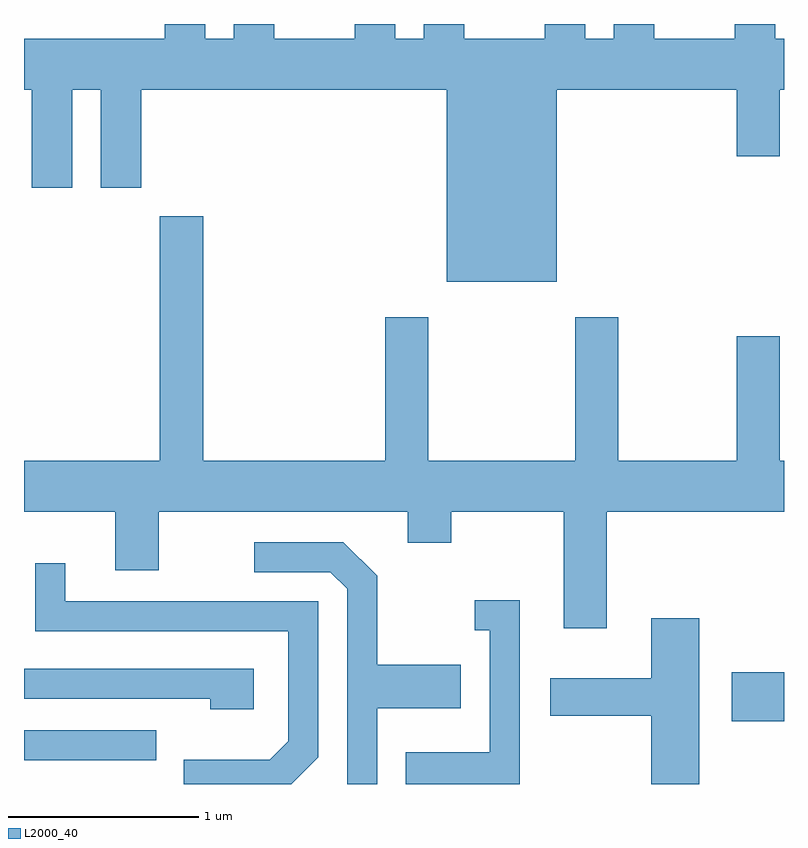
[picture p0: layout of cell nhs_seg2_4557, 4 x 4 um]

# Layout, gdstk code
import gdstk
lib = gdstk.Library(unit=1e-6, precision=1e-09)
def R(c, l, rs):  # rectangles x0, y0, x1, y1
    for r in rs: c.add(gdstk.rectangle(r[:2], r[2:], *l))
def P(c, l, *ps):  # polygons
    for p in ps: c.add(gdstk.Polygon(p, *l))
L2000_40 = (2000, 40)

nhs_seg2_4557 = lib.new_cell('nhs_seg2_4557')
R(nhs_seg2_4557, L2000_40, [(319.611,1015.926,320.308,1016.084), (323.336,1016.131,323.611,1016.389)])
P(nhs_seg2_4557, L2000_40, [(322.414,1019.456),(323.361,1019.456),(323.361,1019.106),(323.589,1019.106),(323.589,1019.456),(323.611,1019.456),(323.611,1019.724),(323.564,1019.724),(323.564,1019.802),(323.351,1019.802),(323.351,1019.724),(322.929,1019.724),(322.929,1019.802),(322.716,1019.802),(322.716,1019.724),(322.564,1019.724),(322.564,1019.802),(322.351,1019.802),(322.351,1019.724),(321.929,1019.724),(321.929,1019.802),(321.716,1019.802),(321.716,1019.724),(321.564,1019.724),(321.564,1019.802),(321.351,1019.802),(321.351,1019.724),(320.929,1019.724),(320.929,1019.802),(320.716,1019.802),(320.716,1019.724),(320.564,1019.724),(320.564,1019.802),(320.351,1019.802),(320.351,1019.724),(319.611,1019.724),(319.611,1019.456),(319.651,1019.456),(319.651,1018.941),(319.864,1018.941),(319.864,1019.456),(320.016,1019.456),(320.016,1018.941),(320.229,1018.941),(320.229,1019.456),(321.836,1019.456),(321.836,1018.446),(322.414,1018.446)],
  [(322.679,1017.236),(323.611,1017.236),(323.611,1017.504),(323.589,1017.504),(323.589,1018.159),(323.361,1018.159),(323.361,1017.504),(322.739,1017.504),(322.739,1018.259),(322.511,1018.259),(322.511,1017.504),(321.739,1017.504),(321.739,1018.259),(321.511,1018.259),(321.511,1017.504),(320.554,1017.504),(320.554,1018.789),(320.326,1018.789),(320.326,1017.504),(319.611,1017.504),(319.611,1017.236),(320.091,1017.236),(320.091,1016.926),(320.319,1016.926),(320.319,1017.236),(321.631,1017.236),(321.631,1017.071),(321.859,1017.071),(321.859,1017.236),(322.451,1017.236),(322.451,1016.621),(322.679,1016.621)],
  [(321.469,1016.201),(321.909,1016.201),(321.909,1016.429),(321.469,1016.429),(321.469,1016.897),(321.292,1017.074),(320.823,1017.074),(320.823,1016.916),(321.224,1016.916),(321.311,1016.829),(321.311,1015.802),(321.469,1015.802)],
  [(321.159,1015.944),(321.159,1016.764),(319.829,1016.764),(319.829,1016.963),(319.671,1016.963),(319.671,1016.606),(321.001,1016.606),(321.001,1016.027),(320.904,1015.929),(320.451,1015.929),(320.451,1015.802),(321.018,1015.802)],
  [(322.219,1016.769),(321.983,1016.769),(321.983,1016.611),(322.061,1016.611),(322.061,1015.969),(321.621,1015.969),(321.621,1015.802),(322.219,1015.802)],
  [(323.164,1016.674),(322.911,1016.674),(322.911,1016.359),(322.381,1016.359),(322.381,1016.161),(322.911,1016.161),(322.911,1015.802),(323.164,1015.802)],
  [(320.819,1016.409),(319.611,1016.409),(319.611,1016.251),(320.591,1016.251),(320.591,1016.196),(320.819,1016.196)])

lib.write_gds('nhs_seg2_4557.gds')
